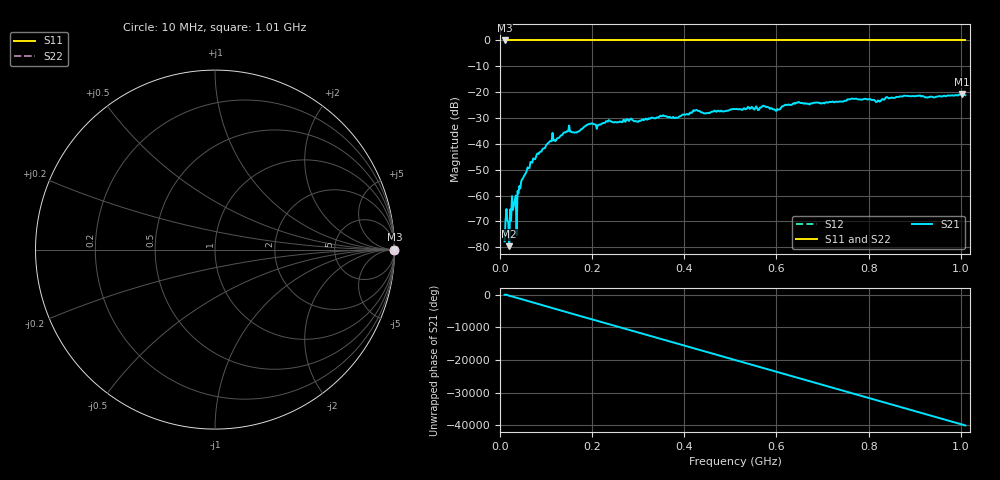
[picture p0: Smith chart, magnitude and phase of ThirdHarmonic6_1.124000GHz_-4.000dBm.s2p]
! 8/16/2025 10:50:43 AM
! C:\ANRITSUVNA\TEMP\TEMP.S2P
! CHANNEL.1
! TR.MEASUREMENT
! RAW.DATA
! RF.CORRECTION.OFF
! AVERAGING.OFF
! IF.BANDWIDTH: 5KHZ
! SWEEPTYPE:  FREQ.SWEEP(Linear)
! Reference Plane Port Info
! PORT:  PORT1  PORT2
! DISTANCE:  0  m  0  m
! TIME:  0  s  0  s
! PHASE.OFFSET:  0  deg.  0  deg.
! LOSS:  0  dB  0  dB
! REF.LOSS:  0  dB  0  dB
! REF.FREQ:  0  Hz  0  Hz
! Power Info
! POWER:  -20  dBm  -20  dBm
! EFF.POWER:  -20  dBm  -20  dBm
! SOURCE.ATTEN:  0  dB  0  dB
! TEST.ATTEN:  0  dB  0  dB
# GHZ S RI R 50.0
! FREQ.GHZ  S11RE  S11IM  S21RE  S21IM  S12RE  S12IM  S22RE  S22IM
!; PortSelection: Port_12
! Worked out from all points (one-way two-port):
!   501 points, 10 MHz to 1.01 GHz, reference 50 ohm
!   highest |S21| = -20.71 dB at 1.002 GHz (marker M1); lowest = -79.6 dB at 20 MHz (marker M2)
!   lowest |S11| = 0.0 dB at 10 MHz (marker M3)
!   |S11| at or under -10 dB: nowhere
!   |S22| runs from 0.0 to 0.0 dB; largest |S21 - S12| = 1.1
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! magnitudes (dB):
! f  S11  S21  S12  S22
! 10 MHz  0.0  -77.7  0.0  0.0
! 14 MHz  0.0  -65.2  0.0  0.0
! 20 MHz  0.0  -79.6  0.0  0.0
! 30 MHz  0.0  -63.7  0.0  0.0
! 32 MHz  0.0  -62.0  0.0  0.0
! 40 MHz  0.0  -59.2  0.0  0.0
! 42 MHz  0.0  -56.3  0.0  0.0
! 46 MHz  0.0  -54.5  0.0  0.0
! 70 MHz  0.0  -47.3  0.0  0.0
! 110 MHz  0.0  -38.9  0.0  0.0
! 146 MHz  0.0  -35.2  0.0  0.0
! 178 MHz  0.0  -34.2  0.0  0.0
! 234 MHz  0.0  -31.4  0.0  0.0
! 344 MHz  0.0  -29.9  0.0  0.0
! 510 MHz  0.0  -26.5  0.0  0.0
! 572 MHz  0.0  -25.2  0.0  0.0
! 602 MHz  0.0  -26.6  0.0  0.0
! 646 MHz  0.0  -24.0  0.0  0.0
! 678 MHz  0.0  -24.4  0.0  0.0
! 844 MHz  0.0  -22.4  0.0  0.0
! 1.002 GHz  0.0  -20.7  0.0  0.0
! 1.01 GHz  0.0  -21.2  0.0  0.0
